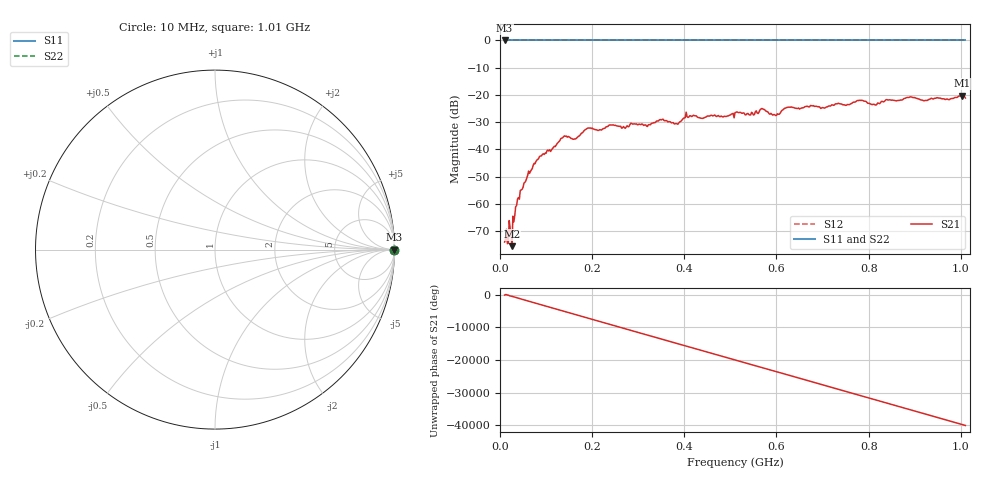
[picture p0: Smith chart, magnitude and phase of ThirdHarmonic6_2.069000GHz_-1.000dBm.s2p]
! 8/17/2025 12:47:18 AM
! C:\ANRITSUVNA\TEMP\TEMP.S2P
! CHANNEL.1
! TR.MEASUREMENT
! RAW.DATA
! RF.CORRECTION.OFF
! AVERAGING.OFF
! IF.BANDWIDTH: 5KHZ
! SWEEPTYPE:  FREQ.SWEEP(Linear)
! Reference Plane Port Info
! PORT:  PORT1  PORT2
! DISTANCE:  0  m  0  m
! TIME:  0  s  0  s
! PHASE.OFFSET:  0  deg.  0  deg.
! LOSS:  0  dB  0  dB
! REF.LOSS:  0  dB  0  dB
! REF.FREQ:  0  Hz  0  Hz
! Power Info
! POWER:  -20  dBm  -20  dBm
! EFF.POWER:  -20  dBm  -20  dBm
! SOURCE.ATTEN:  0  dB  0  dB
! TEST.ATTEN:  0  dB  0  dB
# GHZ S RI R 50.0
! FREQ.GHZ  S11RE  S11IM  S21RE  S21IM  S12RE  S12IM  S22RE  S22IM
!; PortSelection: Port_12
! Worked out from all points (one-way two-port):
!   501 points, 10 MHz to 1.01 GHz, reference 50 ohm
!   highest |S21| = -20.24 dB at 1.002 GHz (marker M1); lowest = -75.6 dB at 26 MHz (marker M2)
!   lowest |S11| = 0.0 dB at 10 MHz (marker M3)
!   |S11| at or under -10 dB: nowhere
!   |S22| runs from 0.0 to 0.0 dB; largest |S21 - S12| = 1.1
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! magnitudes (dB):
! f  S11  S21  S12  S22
! 10 MHz  0.0  -74.1  0.0  0.0
! 26 MHz  0.0  -75.6  0.0  0.0
! 42 MHz  0.0  -58.3  0.0  0.0
! 76 MHz  0.0  -45.3  0.0  0.0
! 136 MHz  0.0  -35.8  0.0  0.0
! 162 MHz  0.0  -36.2  0.0  0.0
! 178 MHz  0.0  -34.0  0.0  0.0
! 192 MHz  0.0  -32.2  0.0  0.0
! 322 MHz  0.0  -31.0  0.0  0.0
! 344 MHz  0.0  -29.6  0.0  0.0
! 382 MHz  0.0  -30.6  0.0  0.0
! 408 MHz  0.0  -28.3  0.0  0.0
! 510 MHz  0.0  -26.5  0.0  0.0
! 570 MHz  0.0  -25.1  0.0  0.0
! 596 MHz  0.0  -27.2  0.0  0.0
! 622 MHz  0.0  -24.6  0.0  0.0
! 678 MHz  0.0  -24.0  0.0  0.0
! 782 MHz  0.0  -22.0  0.0  0.0
! 812 MHz  0.0  -23.4  0.0  0.0
! 844 MHz  0.0  -21.8  0.0  0.0
! 1.002 GHz  0.0  -20.2  0.0  0.0
! 1.01 GHz  0.0  -21.2  0.0  0.0
